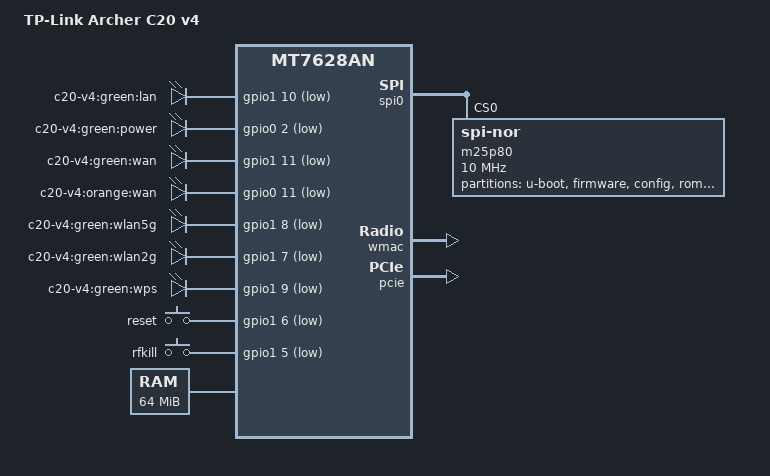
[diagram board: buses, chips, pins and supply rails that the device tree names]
/dts-v1/;

#include "mt7628an.dtsi"

#include <dt-bindings/input/input.h>
#include <dt-bindings/gpio/gpio.h>

/ {
	compatible = "tplink,c20-v4", "mediatek,mt7628an-soc";
	model = "TP-Link Archer C20 v4";

	chosen {
		bootargs = "console=ttyS0,115200";
	};

	gpio-leds {
		compatible = "gpio-leds";

		lan {
			label = "c20-v4:green:lan";
			gpios = <&gpio1 10 GPIO_ACTIVE_LOW>;
		};

		power {
			label = "c20-v4:green:power";
			gpios = <&gpio0 2 GPIO_ACTIVE_LOW>;
		};

		wan {
			label = "c20-v4:green:wan";
			gpios = <&gpio1 11 GPIO_ACTIVE_LOW>;
		};

		wan_orange {
			label = "c20-v4:orange:wan";
			gpios = <&gpio0 11 GPIO_ACTIVE_LOW>;
		};
		
		wlan5g {
			label = "c20-v4:green:wlan5g";
			gpios = <&gpio1 8 GPIO_ACTIVE_LOW>;
		};

		wlan2g {
			label = "c20-v4:green:wlan2g";
			gpios = <&gpio1 7 GPIO_ACTIVE_LOW>;
		};

		wps {
			label = "c20-v4:green:wps";
			gpios = <&gpio1 9 GPIO_ACTIVE_LOW>;
		};
	};

	gpio-keys-polled {
		compatible = "gpio-keys-polled";
		#address-cells = <1>;
		#size-cells = <0>;
		poll-interval = <20>;

		reset {
			label = "reset";
			gpios = <&gpio1 6 GPIO_ACTIVE_LOW>;
			linux,code = <KEY_RESTART>;
		};

		rfkill {
			label = "rfkill";
			gpios = <&gpio1 5 GPIO_ACTIVE_LOW>;
			linux,code = <KEY_RFKILL>;
		};
	};

	memory@0 {
		device_type = "memory";
		reg = <0x0 0x4000000>;
	};
};

&spi0 {
	status = "okay";

	m25p80@0 {
		#address-cells = <1>;
		#size-cells = <1>;
		compatible = "jedec,spi-nor";
		reg = <0>;
		spi-max-frequency = <10000000>;
		m25p,chunked-io = <32>;

		partition@0 {
			label = "u-boot";
			reg = <0x0 0x20000>;
			read-only;
		};

		partition@20000 {
			label = "firmware";
			reg = <0x20000 0x7a0000>;
		};

		partition@7c0000 {
			label = "config";
			reg = <0x7c0000 0x10000>;
			read-only;
		};

		rom: partition@7d0000 {
			label = "rom";
			reg = <0x7d0000 0x10000>;
			read-only;
		};

		partition@7e0000 {
			label = "romfile";
			reg = <0x7e0000 0x10000>;
			read-only;
		};

		radio: partition@7f0000 {
			label = "radio";
			reg = <0x7f0000 0x10000>;
			read-only;
		};
	};
};

&ehci {
	status = "disabled";
};

&ohci {
	status = "disabled";
};

&wmac {
	status = "okay";
	mediatek,mtd-eeprom = <&radio 0x0>;
	mtd-mac-address = <&rom 0xf100>;
	mtd-mac-address-increment = <(-2)>;
};

&ethernet {
	mtd-mac-address = <&rom 0xf100>;
	mediatek,portmap = "wllll";
};

&pinctrl {
	state_default: pinctrl0 {
		gpio {
			ralink,group = "i2s", "refclk", "p0led_an", "p1led_an", "p2led_an", "p3led_an", "p4led_an", "wdt";
			ralink,function = "gpio";
		};
	};
};

&pcie {
	status = "okay";

	pcie-bridge {
		mt76@0,0 {
			reg = <0x0000 0 0 0 0>;
			device_type = "pci";
			mediatek,mtd-eeprom = <&radio 0x8000>;
			ieee80211-freq-limit = <5000000 6000000>;
			mtd-mac-address = <&rom 0xf100>;
			mtd-mac-address-increment = <(-1)>;
		};
	};
};
